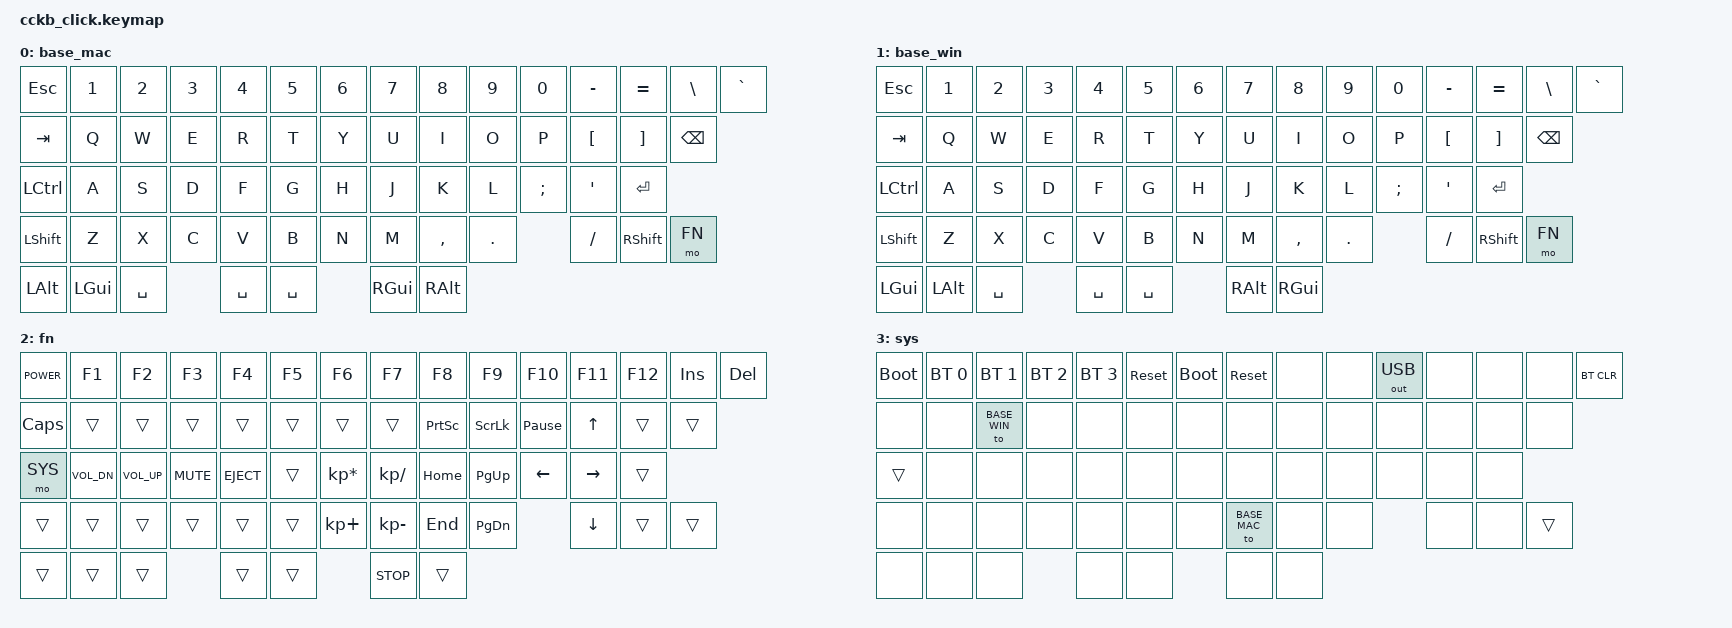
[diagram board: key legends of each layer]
/*
 * cckb-click。CCKB と同じキーマップ（config/boards/shields/cckb/cckb.keymap の写し）。並びは cckb_click-transform.dtsi の map と同じ（上の段から、段の中は左→右。62 キー）。
 * 層は HHKB 分割機（../2608042258_HHKB_devided/config/boards/shields/hhkb_split/hhkb_split.keymap）
 * と同じ: base_mac / base_win / fn / sys。**スペースは 3 つとも SPACE**（設計書 §1。
 * 真ん中は使ってみてから別のキーに替えてよい）。
 */

#include <behaviors.dtsi>
#include <dt-bindings/zmk/bt.h>
#include <dt-bindings/zmk/keys.h>
#include <dt-bindings/zmk/outputs.h>

#define BASE_MAC 0
#define BASE_WIN 1
#define FN       2
#define SYS      3

/ {
	keymap {
		compatible = "zmk,keymap";

		base_mac {
			bindings = <
			&kp ESC   &kp N1 &kp N2 &kp N3 &kp N4 &kp N5 &kp N6 &kp N7 &kp N8 &kp N9 &kp N0 &kp MINUS &kp EQUAL &kp BSLH &kp GRAVE
			&kp TAB   &kp Q  &kp W  &kp E  &kp R  &kp T  &kp Y  &kp U  &kp I  &kp O  &kp P  &kp LBKT  &kp RBKT  &kp BSPC
			&kp LCTRL &kp A  &kp S  &kp D  &kp F  &kp G  &kp H  &kp J  &kp K  &kp L  &kp SEMI &kp SQT &kp RET
			&kp LSHFT &kp Z  &kp X  &kp C  &kp V  &kp B  &kp N  &kp M  &kp COMMA &kp DOT &kp SLASH &kp RSHFT &mo FN
			&kp LALT  &kp LGUI &kp SPACE &kp SPACE &kp SPACE &kp RGUI &kp RALT
			>;
		};

		base_win {
			bindings = <
			&kp ESC   &kp N1 &kp N2 &kp N3 &kp N4 &kp N5 &kp N6 &kp N7 &kp N8 &kp N9 &kp N0 &kp MINUS &kp EQUAL &kp BSLH &kp GRAVE
			&kp TAB   &kp Q  &kp W  &kp E  &kp R  &kp T  &kp Y  &kp U  &kp I  &kp O  &kp P  &kp LBKT  &kp RBKT  &kp BSPC
			&kp LCTRL &kp A  &kp S  &kp D  &kp F  &kp G  &kp H  &kp J  &kp K  &kp L  &kp SEMI &kp SQT &kp RET
			&kp LSHFT &kp Z  &kp X  &kp C  &kp V  &kp B  &kp N  &kp M  &kp COMMA &kp DOT &kp SLASH &kp RSHFT &mo FN
			&kp LGUI  &kp LALT &kp SPACE &kp SPACE &kp SPACE &kp RALT &kp RGUI
			>;
		};

		fn {
			bindings = <
			&kp K_POWER &kp F1 &kp F2 &kp F3 &kp F4 &kp F5 &kp F6 &kp F7 &kp F8 &kp F9 &kp F10 &kp F11 &kp F12 &kp INS &kp DEL
			&kp CAPS    &trans &trans &trans &trans &trans &trans &trans &kp PSCRN &kp SLCK &kp PAUSE_BREAK &kp UP &trans &trans
			&mo SYS     &kp C_VOL_DN &kp C_VOL_UP &kp C_MUTE &kp C_EJECT &trans &kp KP_MULTIPLY &kp KP_DIVIDE &kp HOME &kp PG_UP &kp LEFT &kp RIGHT &trans
			&trans      &trans &trans &trans &trans &trans &kp KP_PLUS &kp KP_MINUS &kp END &kp PG_DN &kp DOWN &trans &trans
			&trans      &trans &trans &trans &trans &kp C_STOP &trans
			>;
		};

		/* Fn+Ctrl+6 の &bootloader・Fn+Ctrl+7 の &sys_reset は、HHKB 分割機で左右どちら側でも
		 * 効くかを確かめるために置いた重複（Esc・5 と同じ動き）。CCKB は 1 枚の板なので要らないが、
		 * 害は無く、分割機の keymap と同じ並びを保つために残す（監査 F-4・open-gaps F3）。 */
		sys {
			bindings = <
			&bootloader &bt BT_SEL 0 &bt BT_SEL 1 &bt BT_SEL 2 &bt BT_SEL 3 &sys_reset &bootloader &sys_reset &none &none &out OUT_USB &none &none &none &bt BT_CLR
			&none &none &to BASE_WIN &none &none &none &none &none &none &none &none &none &none &none
			&trans &none &none &none &none &none &none &none &none &none &none &none &none
			&none &none &none &none &none &none &none &to BASE_MAC &none &none &none &none &trans
			&none &none &none &none &none &none &none
			>;
		};
	};
};
